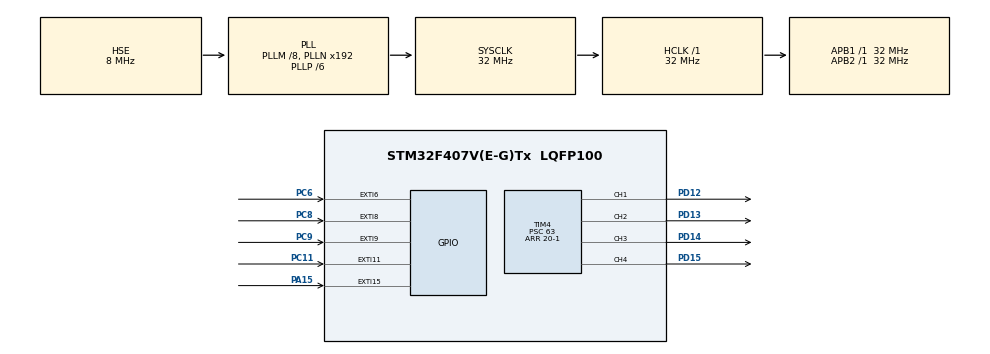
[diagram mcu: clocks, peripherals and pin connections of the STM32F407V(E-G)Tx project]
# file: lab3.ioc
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Mcu.Family=STM32F4
Mcu.Name=STM32F407V(E-G)Tx
Mcu.Package=LQFP100
NVIC.EXTI15_10_IRQn=true\:0\:0\:false\:false\:true\:true\:true
NVIC.EXTI9_5_IRQn=true\:0\:0\:false\:false\:true\:true\:true
NVIC.PriorityGroup=NVIC_PRIORITYGROUP_4
NVIC.TIM4_IRQn=true\:0\:0\:false\:false\:true\:true\:true
PA15.Signal=GPXTI15
PC11.Signal=GPXTI11
PC6.Signal=GPXTI6
PC8.Signal=GPXTI8
PC9.Signal=GPXTI9
PD12.Signal=S_TIM4_CH1
PD13.Signal=S_TIM4_CH2
PD14.Signal=S_TIM4_CH3
PD15.Signal=S_TIM4_CH4
PH0-OSC_IN.Mode=HSE-External-Oscillator
PH0-OSC_IN.Signal=RCC_OSC_IN
PH1-OSC_OUT.Mode=HSE-External-Oscillator
PH1-OSC_OUT.Signal=RCC_OSC_OUT
ProjectManager.HeapSize=0x200
ProjectManager.StackSize=0x400
ProjectManager.TargetToolchain=STM32CubeIDE
RCC.48MHZClocksFreq_Value=48000000
RCC.AHBFreq_Value=32000000
RCC.APB1Freq_Value=32000000
RCC.APB1TimFreq_Value=32000000
RCC.APB2Freq_Value=32000000
RCC.APB2TimFreq_Value=32000000
RCC.CortexFreq_Value=32000000
RCC.HCLKFreq_Value=32000000
RCC.HSE_VALUE=8000000
RCC.HSI_VALUE=16000000
RCC.LSE_VALUE=32768
RCC.PLLM=8
RCC.PLLP=RCC_PLLP_DIV6
RCC.PLLSourceVirtual=RCC_PLLSOURCE_HSE
RCC.SYSCLKFreq_VALUE=32000000
RCC.SYSCLKSource=RCC_SYSCLKSOURCE_PLLCLK
RCC.VCOOutputFreq_Value=192000000
SH.S_TIM4_CH1.0=TIM4_CH1,PWM Generation1 CH1
SH.S_TIM4_CH2.0=TIM4_CH2,PWM Generation2 CH2
SH.S_TIM4_CH3.0=TIM4_CH3,PWM Generation3 CH3
SH.S_TIM4_CH4.0=TIM4_CH4,PWM Generation4 CH4
TIM4.AutoReloadPreload=TIM_AUTORELOAD_PRELOAD_ENABLE
TIM4.Channel-PWM\ Generation1\ CH1=TIM_CHANNEL_1
TIM4.Channel-PWM\ Generation2\ CH2=TIM_CHANNEL_2
TIM4.Channel-PWM\ Generation3\ CH3=TIM_CHANNEL_3
TIM4.Channel-PWM\ Generation4\ CH4=TIM_CHANNEL_4
TIM4.Period=20-1
TIM4.Prescaler=63
TIM4.Pulse-PWM\ Generation1\ CH1=0
TIM4.Pulse-PWM\ Generation2\ CH2=0
TIM4.Pulse-PWM\ Generation3\ CH3=0
TIM4.Pulse-PWM\ Generation4\ CH4=0
VP_TIM4_VS_ClockSourceINT.Mode=Internal
board=custom

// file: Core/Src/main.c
/* USER CODE BEGIN Header */
/**
  ******************************************************************************
  * @file           : main.c
  * @brief          : Main program body
  ******************************************************************************
  * @attention
  *
  * <h2><center>&copy; Copyright (c) 2021 STMicroelectronics.
  * All rights reserved.</center></h2>
  *
  * This software component is licensed by ST under BSD 3-Clause license,
  * the "License"; You may not use this file except in compliance with the
  * License. You may obtain a copy of the License at:
  *                        opensource.org/licenses/BSD-3-Clause
  *
  ******************************************************************************
  */
/* USER CODE END Header */
#include "main.h"

/* USER CODE BEGIN PTD */
enum
{
	ADD,
	SUB
};
/* USER CODE END PTD */

TIM_HandleTypeDef htim4;

void SystemClock_Config(void);
static void MX_GPIO_Init(void);
static void MX_TIM4_Init(void);

/* USER CODE BEGIN 0 */

const int16_t freq[] = {319, 159, 106, 79, 63, 52, 44, 39, 34, 31};//PSC
				       //5   10   15   20  25  30  35  40  45  50 kHz
int8_t prescal = 5;
int8_t duty = 10;
int8_t sel = 0;

void Select()
{
	  switch( sel )
	  {
	  	  case 1:
	  		  TIM4->CCR1=duty;
	  		  TIM4->CCR2=0;
	  		  TIM4->CCR3=0;
	  		  TIM4->CCR4=0;
	  		  break;
		  case 2:
	  		  TIM4->CCR1=0;
	  		  TIM4->CCR2=duty;
	  		  TIM4->CCR3=0;
	  		  TIM4->CCR4=0;
			  break;
		  case 3:
	  		  TIM4->CCR1=0;
	  		  TIM4->CCR2=0;
	  		  TIM4->CCR3=duty;
	  		  TIM4->CCR4=0;
			  break;
		  case 4:
	  		  TIM4->CCR1=0;
	  		  TIM4->CCR2=0;
	  		  TIM4->CCR3=0;
	  		  TIM4->CCR4=duty;
			  break;
		  default:
	  		  TIM4->CCR1=0;
	  		  TIM4->CCR2=0;
	  		  TIM4->CCR3=0;
	  		  TIM4->CCR4=0;
			  break;
	  }
}

void Change_freq(int dir)
{
	if(!dir)
	{
		prescal++;
		if(prescal > (sizeof(freq)/2-1))
			prescal = 0;

	}
	else
	{
		prescal--;
		if(prescal < 0)
			prescal = (sizeof(freq)/2-1);//9

	}
	TIM4->PSC = freq[prescal];
}

void Change_duty_cycle(int dir)
{
	if(!dir)
	{
		duty == 19 ? duty = 0 : duty++;
	}
	else
	{
		duty == 0 ? duty = 19 : duty--;
	}
	Select();
}

/* USER CODE END 0 */

int main(void)
{

  /* MCU Configuration--------------------------------------------------------*/

  /* Reset of all peripherals, Initializes the Flash interface and the Systick. */
  HAL_Init();

  /* Configure the system clock */
  SystemClock_Config();

  /* Initialize all configured peripherals */
  MX_GPIO_Init();
  MX_TIM4_Init();
  /* USER CODE BEGIN 2 */
  HAL_TIM_Base_Start_IT(&htim4);
  HAL_TIM_PWM_Start(&htim4, TIM_CHANNEL_1);
  HAL_TIM_PWM_Start(&htim4, TIM_CHANNEL_2);
  HAL_TIM_PWM_Start(&htim4, TIM_CHANNEL_3);
  HAL_TIM_PWM_Start(&htim4, TIM_CHANNEL_4);

  /* USER CODE END 2 */

  /* Infinite loop */
  while (1)
  {

  }
}

void SystemClock_Config(void)
{
  RCC_OscInitTypeDef RCC_OscInitStruct = {0};
  RCC_ClkInitTypeDef RCC_ClkInitStruct = {0};

  /** Configure the main internal regulator output voltage
  */
  __HAL_RCC_PWR_CLK_ENABLE();
  __HAL_PWR_VOLTAGESCALING_CONFIG(PWR_REGULATOR_VOLTAGE_SCALE1);
  /** Initializes the RCC Oscillators according to the specified parameters
  * in the RCC_OscInitTypeDef structure.
  */
  RCC_OscInitStruct.OscillatorType = RCC_OSCILLATORTYPE_HSE;
  RCC_OscInitStruct.HSEState = RCC_HSE_ON;
  RCC_OscInitStruct.PLL.PLLState = RCC_PLL_ON;
  RCC_OscInitStruct.PLL.PLLSource = RCC_PLLSOURCE_HSE;
  RCC_OscInitStruct.PLL.PLLM = 8;
  RCC_OscInitStruct.PLL.PLLN = 192;
  RCC_OscInitStruct.PLL.PLLP = RCC_PLLP_DIV6;
  RCC_OscInitStruct.PLL.PLLQ = 4;
  if (HAL_RCC_OscConfig(&RCC_OscInitStruct) != HAL_OK)
  {
    Error_Handler();
  }
  /** Initializes the CPU, AHB and APB buses clocks
  */
  RCC_ClkInitStruct.ClockType = RCC_CLOCKTYPE_HCLK|RCC_CLOCKTYPE_SYSCLK
                              |RCC_CLOCKTYPE_PCLK1|RCC_CLOCKTYPE_PCLK2;
  RCC_ClkInitStruct.SYSCLKSource = RCC_SYSCLKSOURCE_PLLCLK;
  RCC_ClkInitStruct.AHBCLKDivider = RCC_SYSCLK_DIV1;
  RCC_ClkInitStruct.APB1CLKDivider = RCC_HCLK_DIV1;
  RCC_ClkInitStruct.APB2CLKDivider = RCC_HCLK_DIV1;

  if (HAL_RCC_ClockConfig(&RCC_ClkInitStruct, FLASH_LATENCY_1) != HAL_OK)
  {
    Error_Handler();
  }
}

static void MX_TIM4_Init(void)
{

  TIM_ClockConfigTypeDef sClockSourceConfig = {0};
  TIM_MasterConfigTypeDef sMasterConfig = {0};
  TIM_OC_InitTypeDef sConfigOC = {0};

  htim4.Instance = TIM4;
  htim4.Init.Prescaler = 63;
  htim4.Init.CounterMode = TIM_COUNTERMODE_UP;
  htim4.Init.Period = 20-1;
  htim4.Init.ClockDivision = TIM_CLOCKDIVISION_DIV1;
  htim4.Init.AutoReloadPreload = TIM_AUTORELOAD_PRELOAD_ENABLE;
  if (HAL_TIM_Base_Init(&htim4) != HAL_OK)
  {
    Error_Handler();
  }
  sClockSourceConfig.ClockSource = TIM_CLOCKSOURCE_INTERNAL;
  if (HAL_TIM_ConfigClockSource(&htim4, &sClockSourceConfig) != HAL_OK)
  {
    Error_Handler();
  }
  if (HAL_TIM_PWM_Init(&htim4) != HAL_OK)
  {
    Error_Handler();
  }
  sMasterConfig.MasterOutputTrigger = TIM_TRGO_RESET;
  sMasterConfig.MasterSlaveMode = TIM_MASTERSLAVEMODE_DISABLE;
  if (HAL_TIMEx_MasterConfigSynchronization(&htim4, &sMasterConfig) != HAL_OK)
  {
    Error_Handler();
  }
  sConfigOC.OCMode = TIM_OCMODE_PWM1;
  sConfigOC.Pulse = 0;
  sConfigOC.OCPolarity = TIM_OCPOLARITY_HIGH;
  sConfigOC.OCFastMode = TIM_OCFAST_DISABLE;
  if (HAL_TIM_PWM_ConfigChannel(&htim4, &sConfigOC, TIM_CHANNEL_1) != HAL_OK)
  {
    Error_Handler();
  }
  if (HAL_TIM_PWM_ConfigChannel(&htim4, &sConfigOC, TIM_CHANNEL_2) != HAL_OK)
  {
    Error_Handler();
  }
  if (HAL_TIM_PWM_ConfigChannel(&htim4, &sConfigOC, TIM_CHANNEL_3) != HAL_OK)
  {
    Error_Handler();
  }
  if (HAL_TIM_PWM_ConfigChannel(&htim4, &sConfigOC, TIM_CHANNEL_4) != HAL_OK)
  {
    Error_Handler();
  }
  HAL_TIM_MspPostInit(&htim4);

}

static void MX_GPIO_Init(void)
{
  GPIO_InitTypeDef GPIO_InitStruct = {0};

  /* GPIO Ports Clock Enable */
  __HAL_RCC_GPIOH_CLK_ENABLE();
  __HAL_RCC_GPIOD_CLK_ENABLE();
  __HAL_RCC_GPIOC_CLK_ENABLE();
  __HAL_RCC_GPIOA_CLK_ENABLE();

  /*Configure GPIO pins : PC6 PC8 PC9 PC11 */
  GPIO_InitStruct.Pin = GPIO_PIN_6|GPIO_PIN_8|GPIO_PIN_9|GPIO_PIN_11;
  GPIO_InitStruct.Mode = GPIO_MODE_IT_RISING;
  GPIO_InitStruct.Pull = GPIO_NOPULL;
  HAL_GPIO_Init(GPIOC, &GPIO_InitStruct);

  /*Configure GPIO pin : PA15 */
  GPIO_InitStruct.Pin = GPIO_PIN_15;
  GPIO_InitStruct.Mode = GPIO_MODE_IT_RISING;
  GPIO_InitStruct.Pull = GPIO_NOPULL;
  HAL_GPIO_Init(GPIOA, &GPIO_InitStruct);

  /* EXTI interrupt init*/
  HAL_NVIC_SetPriority(EXTI9_5_IRQn, 0, 0);
  HAL_NVIC_EnableIRQ(EXTI9_5_IRQn);

  HAL_NVIC_SetPriority(EXTI15_10_IRQn, 0, 0);
  HAL_NVIC_EnableIRQ(EXTI15_10_IRQn);

}

/* USER CODE BEGIN 4 */

void HAL_GPIO_EXTI_Callback(uint16_t GPIO_PIN)
{
		if (GPIO_PIN == GPIO_PIN_15)
		{
			sel == 4 ? sel = 0 : sel++;
			Select();
		}

		if (GPIO_PIN == GPIO_PIN_11)
		{
			Change_freq(SUB);
		}

		if (GPIO_PIN == GPIO_PIN_9)
		{
			Change_freq(ADD);
		}

		if (GPIO_PIN == GPIO_PIN_6)
		{
			Change_duty_cycle(SUB);
		}

		if (GPIO_PIN == GPIO_PIN_8)
		{
			Change_duty_cycle(ADD);
		}
}

/* USER CODE END 4 */

void Error_Handler(void)
{
  __disable_irq();
  while (1)
  {
  }
}

/************************ (C) COPYRIGHT STMicroelectronics *****END OF FILE****/
